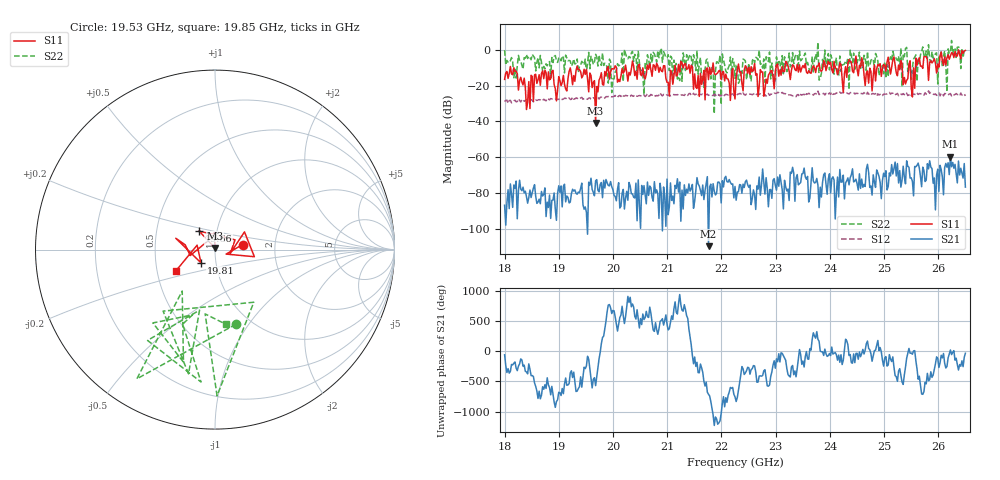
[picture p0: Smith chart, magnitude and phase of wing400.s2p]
!Keysight Technologies,N5242B,MY47200105,A.14.00.23
!Date: Friday, May 10, 2024 11:21:19
!Correction: S11(C  2-Port  )
!S21(C  2-Port  )
!S12(C  2-Port  )
!S22(C  2-Port  )
!S2P File: Measurement: :
# Hz S  RI  R 50
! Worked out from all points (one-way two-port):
!   401 points, 18 GHz to 26.5 GHz, reference 50 ohm
!   highest |S21| = -59.57 dB at 26.22 GHz (marker M1); lowest = -109.5 dB at 21.76 GHz (marker M2)
!   lowest |S11| = -40.9 dB at 19.68 GHz (marker M3), VSWR 1.02, Z = 50.1 + j0.904 ohm
!   |S11| at or under -10 dB: 18.11 GHz to 19.33 GHz (1.222 GHz wide, 6.53 % of centre); 19.35 GHz to 19.9 GHz (550 MHz wide, 2.8 % of centre); 21.86 GHz to 22.3 GHz (445 MHz wide, 2.02 % of centre) (the widest 3 of 56)
!   |S22| runs from -35.7 to 5.1 dB; largest |S21 - S12| = 0.071
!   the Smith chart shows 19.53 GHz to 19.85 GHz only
!   S11 on the Smith chart (normalised r, x): 19.53 GHz: 1.36, +0.08; 19.66 GHz: 0.82, +0.17; 19.81 GHz: 0.85, -0.13; 19.85 GHz: 0.63, -0.16
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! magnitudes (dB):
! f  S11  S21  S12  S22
! 18 GHz  -16.6  -86.7  -28.9  -0.3
! 18.43 GHz  -29.3  -85.6  -28.2  -4.9
! 18.72 GHz  -16.2  -80.7  -27.6  -9.3
! 19.42 GHz  -15.7  -74.4  -26.6  -6.5
! 19.53 GHz  -16.1  -102.9  -27.7  -7.3
! 19.66 GHz  -17.3  -81.4  -27.2  -6.9
! 19.68 GHz  -40.9  -73.1  -28.4  -2.6
! 19.81 GHz  -19.4  -82.5  -27.1  -1.8
! 19.85 GHz  -12.1  -77.1  -27.0  -7.6
! 20.02 GHz  -10.8  -81.3  -26.0  -16.3
! 20.38 GHz  -9.1  -82.2  -25.9  -6.5
! 20.55 GHz  -10.1  -80.7  -26.0  -13.7
! 20.85 GHz  -12.6  -94.0  -25.3  -4.5
! 21.23 GHz  -12.5  -73.8  -25.5  -17.2
! 21.4 GHz  -8.4  -74.8  -24.5  -4.2
! 21.76 GHz  -16.7  -109.5  -25.5  -10.6
! 22.25 GHz  -27.5  -76.2  -24.6  -16.0
! 23.67 GHz  -10.5  -65.8  -24.6  -3.8
! 25.1 GHz  -9.2  -68.7  -23.8  -6.3
! 25.52 GHz  -26.3  -73.3  -25.2  -10.1
! 26.22 GHz  -3.4  -59.6  -24.5  -1.1
! 26.5 GHz  -0.4  -76.6  -25.8  0.4
